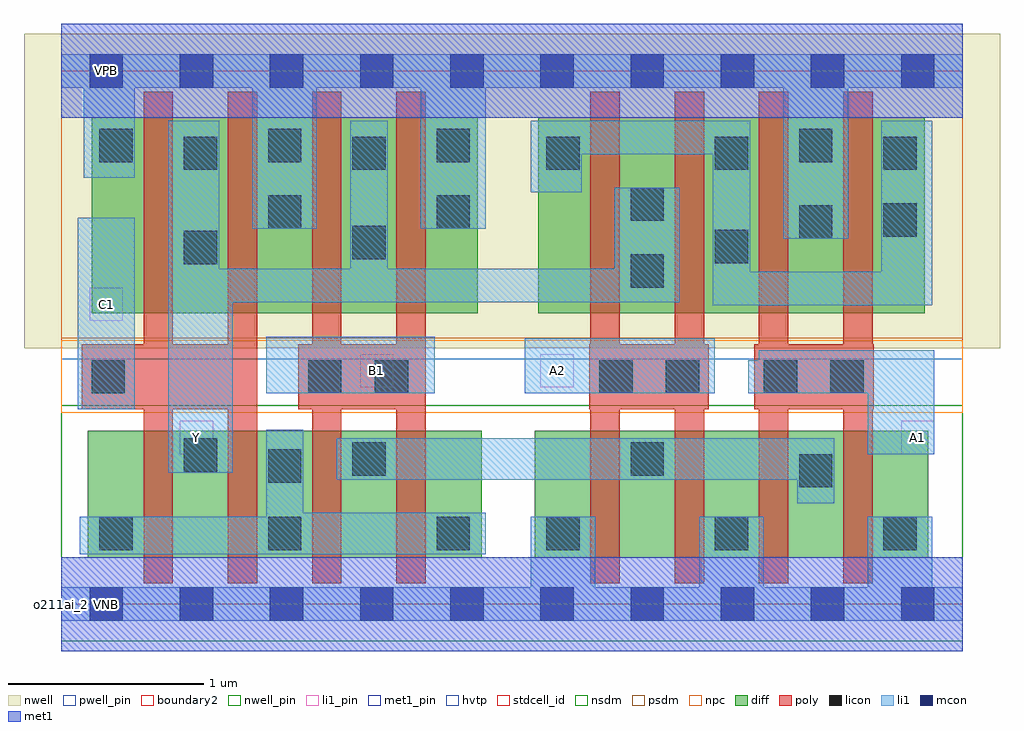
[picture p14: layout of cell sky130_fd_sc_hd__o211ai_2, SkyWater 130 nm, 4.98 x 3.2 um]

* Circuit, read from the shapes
.subckt sky130_fd_sc_hd__o211ai_2 A1 A2 B1 C1 VGND VNB VPB VPWR Y
XM1 Y C1 n1 VNB sky130_fd_pr__nfet_01v8 w=0.65 l=0.15 m=2
XM2 n2 B1 n1 VNB sky130_fd_pr__nfet_01v8 w=0.65 l=0.15 m=2
XM3 n2 A2 VGND VNB sky130_fd_pr__nfet_01v8 w=0.65 l=0.15 m=2
XM4 n2 A1 VGND VNB sky130_fd_pr__nfet_01v8 w=0.65 l=0.15 m=2
XM5 Y C1 VPWR VPB sky130_fd_pr__pfet_01v8_hvt w=1 l=0.15 m=2
XM6 Y B1 VPWR VPB sky130_fd_pr__pfet_01v8_hvt w=1 l=0.15 m=2
XM7 Y A2 n3 VPB sky130_fd_pr__pfet_01v8_hvt w=1 l=0.15 m=2
XM8 VPWR A1 n3 VPB sky130_fd_pr__pfet_01v8_hvt w=1 l=0.15 m=2
.ends

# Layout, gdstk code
import gdstk
lib = gdstk.Library(unit=1e-6, precision=1e-09)
def R(c, l, rs):  # rectangles x0, y0, x1, y1
    for r in rs: c.add(gdstk.rectangle(r[:2], r[2:], *l))
def A(c, l, x, y, w, h, nx, ny, dx, dy):  # array of equal rectangles
    R(c, l, [(x+i*dx, y+j*dy, x+i*dx+w, y+j*dy+h) for i in range(nx) for j in range(ny)])
def P(c, l, *ps):  # polygons
    for p in ps: c.add(gdstk.Polygon(p, *l))
nwell_pin = (64, 16)
nwell = (64, 20)
diff = (65, 20)
poly = (66, 20)
licon = (66, 44)
li1_pin = (67, 16)
li1 = (67, 20)
mcon = (67, 44)
met1_pin = (68, 16)
met1 = (68, 20)
hvtp = (78, 44)
stdcell_id = (81, 4)
nsdm = (93, 44)
psdm = (94, 20)
npc = (95, 20)
pwell_pin = (122, 16)
boundary2 = (236, 0)

sky130_fd_sc_hd__o211ai_ = lib.new_cell('sky130_fd_sc_hd__o211ai_2')
R(sky130_fd_sc_hd__o211ai_, nwell_pin, [(0.145,2.635,0.315,2.805)])
R(sky130_fd_sc_hd__o211ai_, nwell, [(-0.19,1.305,4.79,2.91)])
R(sky130_fd_sc_hd__o211ai_, diff, [(0.135,0.235,2.145,0.885), (2.415,0.235,4.425,0.885), (0.155,1.485,2.125,2.485), (2.435,1.485,4.405,2.485)])
P(sky130_fd_sc_hd__o211ai_, poly, [(1,2.615),(0.85,2.615),(0.85,1.325),(0.57,1.325),(0.57,2.615),(0.42,2.615),(0.42,1.325),(0.105,1.325),(0.105,0.995),(0.42,0.995),(0.42,0.105),(0.57,0.105),(0.57,0.995),(0.85,0.995),(0.85,0.105),(1,0.105)],
  [(1.86,2.615),(1.71,2.615),(1.71,1.325),(1.43,1.325),(1.43,2.615),(1.28,2.615),(1.28,1.325),(1.21,1.325),(1.21,0.995),(1.28,0.995),(1.28,0.105),(1.43,0.105),(1.43,0.995),(1.71,0.995),(1.71,0.105),(1.86,0.105)],
  [(3.305,1.325),(3.28,1.325),(3.28,2.615),(3.13,2.615),(3.13,1.325),(2.85,1.325),(2.85,2.615),(2.7,2.615),(2.7,1.325),(2.695,1.325),(2.695,0.995),(2.7,0.995),(2.7,0.105),(2.85,0.105),(2.85,0.995),(3.13,0.995),(3.13,0.105),(3.28,0.105),(3.28,0.995),(3.305,0.995)],
  [(4.145,1.325),(4.14,1.325),(4.14,2.615),(3.99,2.615),(3.99,1.325),(3.71,1.325),(3.71,2.615),(3.56,2.615),(3.56,1.325),(3.535,1.325),(3.535,0.995),(3.56,0.995),(3.56,0.105),(3.71,0.105),(3.71,0.995),(3.99,0.995),(3.99,0.105),(4.14,0.105),(4.14,0.995),(4.145,0.995)])
A(sky130_fd_sc_hd__o211ai_, licon, 0.195, 0.275, 0.17, 0.17, 3, 2, 0.86, 1.98)
A(sky130_fd_sc_hd__o211ai_, licon, 2.475, 0.275, 0.17, 0.17, 3, 2, 0.86, 1.94)
R(sky130_fd_sc_hd__o211ai_, licon, [(3.765,0.595,3.935,0.765), (1.055,0.62,1.225,0.79), (1.485,0.655,1.655,0.825), (2.905,0.655,3.075,0.825), (0.625,0.675,0.795,0.845), (0.155,1.075,0.325,1.245), (1.26,1.075,1.43,1.245), (1.6,1.075,1.77,1.245), (2.745,1.075,2.915,1.245), (3.085,1.075,3.255,1.245), (3.585,1.075,3.755,1.245), (3.925,1.075,4.095,1.245), (2.905,1.615,3.075,1.785), (0.625,1.735,0.795,1.905), (3.335,1.74,3.505,1.91), (1.485,1.76,1.655,1.93), (3.765,1.865,3.935,2.035), (4.195,1.875,4.365,2.045), (1.055,1.915,1.225,2.085), (1.915,1.915,2.085,2.085), (2.905,1.955,3.075,2.125), (0.625,2.215,0.795,2.385), (1.485,2.215,1.655,2.385), (3.765,2.255,3.935,2.425)])
R(sky130_fd_sc_hd__o211ai_, li1_pin, [(0.605,0.765,0.775,0.935), (4.285,0.765,4.455,0.935), (1.525,1.105,1.695,1.275), (2.445,1.105,2.615,1.275), (0.145,1.445,0.315,1.615)])
R(sky130_fd_sc_hd__o211ai_, li1, [(0.085,0.995,0.375,1.97), (1.045,1.075,1.905,1.365), (2.365,1.075,3.335,1.355)])
P(sky130_fd_sc_hd__o211ai_, li1, [(4.6,0.085),(4.445,0.085),(4.445,0.445),(4.115,0.445),(4.115,0.085),(3.585,0.085),(3.585,0.445),(3.255,0.445),(3.255,0.085),(2.725,0.085),(2.725,0.445),(2.395,0.445),(2.395,0.085),(0,0.085),(0,-0.085),(4.6,-0.085)],
  [(4.6,2.805),(0,2.805),(0,2.635),(0.115,2.635),(0.115,2.175),(0.375,2.175),(0.375,2.635),(0.975,2.635),(0.975,1.915),(1.305,1.915),(1.305,2.635),(1.835,2.635),(1.835,1.915),(2.165,1.915),(2.165,2.635),(3.685,2.635),(3.685,1.865),(4.015,1.865),(4.015,2.635),(4.6,2.635)],
  [(2.165,0.465),(1.235,0.465),(1.235,0.89),(1.045,0.89),(1.045,0.445),(0.095,0.445),(0.095,0.255),(2.165,0.255)],
  [(3.155,2.125),(2.825,2.125),(2.825,1.71),(1.665,1.71),(1.665,2.465),(1.475,2.465),(1.475,1.71),(0.805,1.71),(0.805,2.465),(0.545,2.465),(0.545,0.67),(0.875,0.67),(0.875,1.54),(3.155,1.54)],
  [(3.945,0.845),(1.405,0.845),(1.405,0.635),(3.755,0.635),(3.755,0.515),(3.945,0.515)],
  [(4.445,2.465),(4.185,2.465),(4.185,1.695),(3.515,1.695),(3.515,2.465),(2.395,2.465),(2.395,2.1),(2.655,2.1),(2.655,2.295),(3.325,2.295),(3.325,1.525),(4.445,1.525)],
  [(4.455,1.295),(3.56,1.295),(3.56,1.245),(3.505,1.245),(3.505,1.075),(4.115,1.075),(4.115,0.765),(4.455,0.765)])
A(sky130_fd_sc_hd__o211ai_, mcon, 0.145, -0.085, 0.17, 0.17, 10, 2, 0.46, 2.72)
R(sky130_fd_sc_hd__o211ai_, met1_pin, [(0.145,-0.085,0.315,0.085), (0.145,2.635,0.315,2.805)])
R(sky130_fd_sc_hd__o211ai_, hvtp, [(0,1.25,4.6,2.72)])
R(sky130_fd_sc_hd__o211ai_, stdcell_id, [(0,0,4.6,2.72)])
R(sky130_fd_sc_hd__o211ai_, nsdm, [(0,-0.19,4.6,1.015)])
R(sky130_fd_sc_hd__o211ai_, psdm, [(0,1.355,4.6,2.91)])
R(sky130_fd_sc_hd__o211ai_, npc, [(0,0.975,4.6,1.345)])
R(sky130_fd_sc_hd__o211ai_, pwell_pin, [(0.145,-0.085,0.315,0.085)])
R(sky130_fd_sc_hd__o211ai_, boundary2, [(0,0,4.6,2.72)])
sky130_fd_sc_hd__o211ai_.add(gdstk.FlexPath([(0,2.72),(4.6,2.72)], 0.48, ends="flush", simple_path=True, layer=68, datatype=20))  # met1
sky130_fd_sc_hd__o211ai_.add(gdstk.FlexPath([(0,0),(4.6,0)], 0.48, ends="flush", simple_path=True, layer=68, datatype=20))  # met1
sky130_fd_sc_hd__o211ai_.add(gdstk.Label('A1', (4.37,0.85), layer=67, texttype=5))
sky130_fd_sc_hd__o211ai_.add(gdstk.Label('A2', (2.53,1.19), layer=67, texttype=5))
sky130_fd_sc_hd__o211ai_.add(gdstk.Label('B1', (1.61,1.19), layer=67, texttype=5))
sky130_fd_sc_hd__o211ai_.add(gdstk.Label('Y', (0.69,0.85), layer=67, texttype=5))
sky130_fd_sc_hd__o211ai_.add(gdstk.Label('C1', (0.23,1.53), layer=67, texttype=5))
sky130_fd_sc_hd__o211ai_.add(gdstk.Label('VNB', (0.23,0), layer=64, texttype=59))
sky130_fd_sc_hd__o211ai_.add(gdstk.Label('VPB', (0.23,2.72), layer=64, texttype=5))
sky130_fd_sc_hd__o211ai_.add(gdstk.Label('VGND', (0.23,0), layer=68, texttype=5))
sky130_fd_sc_hd__o211ai_.add(gdstk.Label('VPWR', (0.23,2.72), layer=68, texttype=5))
sky130_fd_sc_hd__o211ai_.add(gdstk.Label('o211ai_2', (0,0), layer=83, texttype=44))

lib.write_gds('sky130_fd_sc_hd__o211ai_2.gds')
